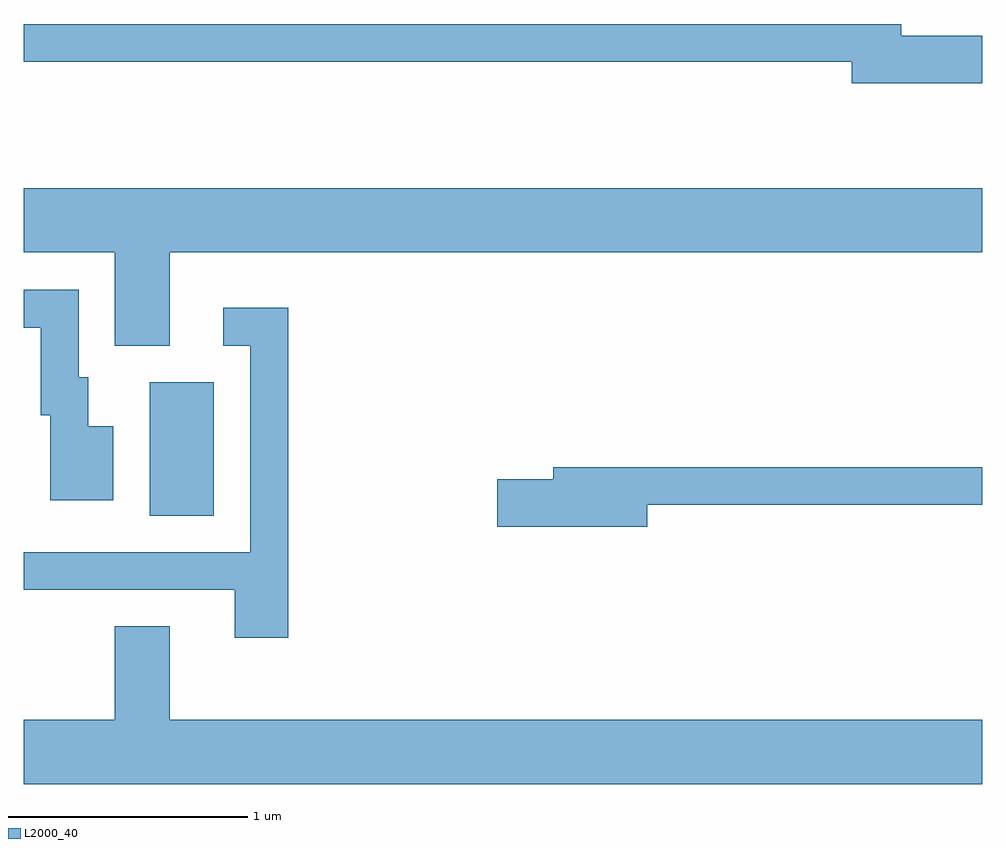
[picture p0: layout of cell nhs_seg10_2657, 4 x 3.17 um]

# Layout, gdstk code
import gdstk
lib = gdstk.Library(unit=1e-6, precision=1e-09)
def R(c, l, rs):  # rectangles x0, y0, x1, y1
    for r in rs: c.add(gdstk.rectangle(r[:2], r[2:], *l))
def P(c, l, *ps):  # polygons
    for p in ps: c.add(gdstk.Polygon(p, *l))
L2000_40 = (2000, 40)

nhs_seg10_2657 = lib.new_cell('nhs_seg10_2657')
R(nhs_seg10_2657, L2000_40, [(264.136,2106.156,264.404,2106.714)])
P(nhs_seg10_2657, L2000_40, [(267.611,2108.159),(267.274,2108.159),(267.274,2108.209),(263.611,2108.209),(263.611,2108.051),(267.066,2108.051),(267.066,2107.961),(267.611,2107.961)],
  [(264.219,2107.256),(267.611,2107.256),(267.611,2107.524),(263.611,2107.524),(263.611,2107.256),(263.991,2107.256),(263.991,2106.866),(264.219,2106.866)],
  [(263.984,2106.529),(263.879,2106.529),(263.879,2106.734),(263.839,2106.734),(263.839,2107.099),(263.611,2107.099),(263.611,2106.941),(263.681,2106.941),(263.681,2106.576),(263.721,2106.576),(263.721,2106.221),(263.984,2106.221)],
  [(264.714,2107.024),(264.443,2107.024),(264.443,2106.866),(264.556,2106.866),(264.556,2106.004),(263.611,2106.004),(263.611,2105.846),(264.491,2105.846),(264.491,2105.646),(264.714,2105.646)],
  [(266.214,2106.201),(267.611,2106.201),(267.611,2106.359),(265.821,2106.359),(265.821,2106.309),(265.586,2106.309),(265.586,2106.111),(266.214,2106.111)],
  [(267.611,2105.304),(264.219,2105.304),(264.219,2105.694),(263.991,2105.694),(263.991,2105.304),(263.611,2105.304),(263.611,2105.036),(267.611,2105.036)])

lib.write_gds('nhs_seg10_2657.gds')
